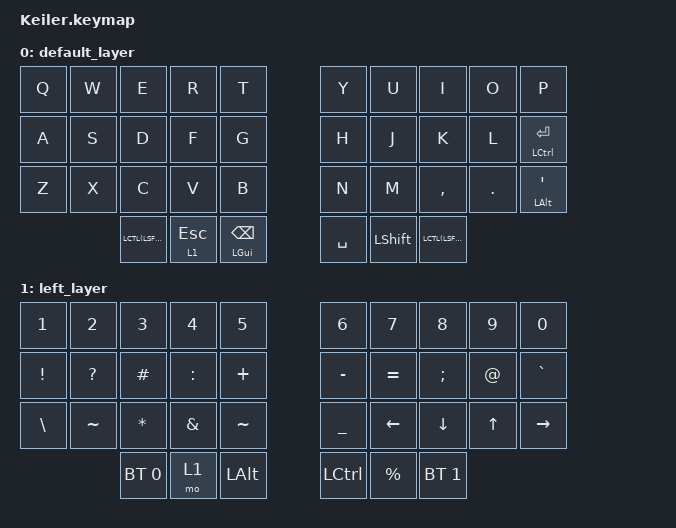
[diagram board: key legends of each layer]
// Copyright (c) 2022 The ZMK Contributors
// SPDX-License-Identifier: MIT

#include <behaviors.dtsi>
#include <dt-bindings/zmk/keys.h>
#include <dt-bindings/zmk/bt.h>
#include <dt-bindings/zmk/outputs.h>


#define SYM 1
#define NUM 2

/* KEY POSITIONS

// ╭──────────────╮ ╭──────────────╮
// │ 0  1  2  3  4│ │ 5  6  7  8  9│
// │10 11 12 13 14│ │15 16 17 18 19│
// │20 21 22 23 24│ │25 26 27 28 29│
// ╰─────╮30 31 32│ │33 34 35╭─────╯
//       ╰────────╯ ╰────────╯

*/

&kscan0 {
  debounce-press-ms = <10>;
  debounce-release-ms = <15>;
};

&mt {
  flavor="balanced";
  tapping_term_ms = <120>;
  quick-tap-ms=<200>;
};

&lt{
  flavor="hold-preferred";
  tapping_term_ms = <120>;
  quick-tap-ms=<200>;
};

/ {
    behaviors {
        lm: lm {
            compatible = "zmk,behavior-macro-two-param";
            wait-ms = <0>;
            tap-ms = <0>;
            #binding-cells = <2>;
            bindings
                = <&macro_param_1to1>
                , <&macro_press &mo MACRO_PLACEHOLDER>
                , <&macro_param_2to1>
                , <&macro_press &kp MACRO_PLACEHOLDER>
                , <&macro_pause_for_release>
                , <&macro_param_2to1>
                , <&macro_release &kp MACRO_PLACEHOLDER>
                , <&macro_param_1to1>
                , <&macro_release &mo MACRO_PLACEHOLDER>
                ;
        };

        enter: enter_mod {
            compatible = "zmk,behavior-hold-tap";
            #binding-cells = <2>;
            tapping-term-ms = <120>;
            quick-tap-ms = <0>;
            flavor = "tap-preferred";
            bindings = <&kp>, <&kp>;
            retro-tap;
        };
    };
    combos {
        compatible = "zmk,combos";
        combo_open_param {
            timeout-ms = <120>;
            key-positions = <22 23>;
            bindings = <&kp LPAR>;
        };
        combo_tick {
            timeout-ms = <120>;
            key-positions = <0 1>;
            bindings = <&kp GRAVE>;
        };
        combo_s_tab {
            timeout-ms = <120>;
            key-positions = <11 13>;
            bindings = <&kp TAB>;
        };
        combo_close_param {
            timeout-ms = <120>;
            key-positions = <26 27>;
            bindings = <&kp RPAR>;
        };
        combo_open_block {
            timeout-ms = <120>;
            key-positions = <21 22>;
            bindings = <&kp LBKT>;
        };
        combo_close_block {
            timeout-ms = <120>;
            key-positions = <27 28>;
            bindings = <&kp RBKT>;
        };
        combo_close_bracket {
            timeout-ms = <120>;
            key-positions = <28 29>;
            bindings = <&kp BSLH>;
        };
        combo_backslash {
            timeout-ms = <120>;
            key-positions = <20 21>;
            bindings = <&kp FSLH>;
        };
    };
    keymap {
        compatible = "zmk,keymap";
                
            default_layer {
        bindings = <
// ╭─────────────┬─────────────┬─────────────┬─────────────┬─────────────╮   ╭─────────────┬─────────────┬─────────────┬─────────────┬─────────────╮
     &kp Q         &kp W         &kp E         &kp R         &kp T             &kp Y         &kp U         &kp I         &kp O         &kp P 
// ├─────────────┼─────────────┼─────────────┼─────────────┼─────────────┤   ├─────────────┼─────────────┼─────────────┼─────────────┼─────────────┤
     &kp A         &kp S         &kp D         &kp F         &kp G             &kp H         &kp J         &kp K         &kp L         &enter LCTRL RET
// ├─────────────┼─────────────┼─────────────┼─────────────┼─────────────┤   ├─────────────┼─────────────┼─────────────┼─────────────┼─────────────
     &kp Z         &kp X         &kp C         &kp V         &kp B             &kp N         &kp M         &kp COMMA      &kp DOT      &enter LALT SINGLE_QUOTE
// ╰─────────────┴─────────────┴─────────────┼─────────────┼─────────────┤   ├─────────────┼─────────────┼─────────────┴─────────────┴─────────────╯
                                          &kp LCTL(LSFT(F11))  &lt 1 ESC    &mt LGUI BSPC       &kp SPACE     &kp LSHIFT  &kp LCTL(LSFT(F12))
        //                              ╰──────────┴──────────┴──────────╯     ╰──────────┴──────────┴──────────╯
        >;
        };

            left_layer {
        bindings = <
// ╭─────────────┬─────────────┬─────────────┬─────────────┬─────────────╮   ╭─────────────┬─────────────┬─────────────┬─────────────┬─────────────╮
     &kp N1        &kp N2        &kp N3        &kp N4        &kp N5            &kp N6        &kp N7        &kp N8        &kp N9        &kp N0 
// ├─────────────┼─────────────┼─────────────┼─────────────┼─────────────┤   ├─────────────┼─────────────┼─────────────┼─────────────┼─────────────┤
     &kp EXCL      &kp QMARK     &kp HASH      &kp COLON     &kp PLUS          &kp MINUS     &kp EQUAL     &kp SEMI      &kp AT        &kp GRAVE 
// ├─────────────┼─────────────┼─────────────┼─────────────┼─────────────┤   ├─────────────┼─────────────┼─────────────┼─────────────┼─────────────┤
     &kp BSLH      &kp TILDE     &kp STAR      &kp AMPS      &kp TILDE         &kp UNDER     &kp LEFT      &kp DOWN      &kp UP        &kp RIGHT 
// ╰─────────────┴─────────────┴─────────────┼─────────────┼─────────────┤   ├─────────────┼─────────────┼─────────────┴─────────────┴─────────────╯
                                               &bt BT_SEL 0 &mo 1         &kp LALT          &kp LCTRL    &kp PRCNT &bt BT_SEL 1
//                                           ╰─────────────┴─────────────╯   ╰─────────────┴─────────────╯
        >;
        };
    };
};
